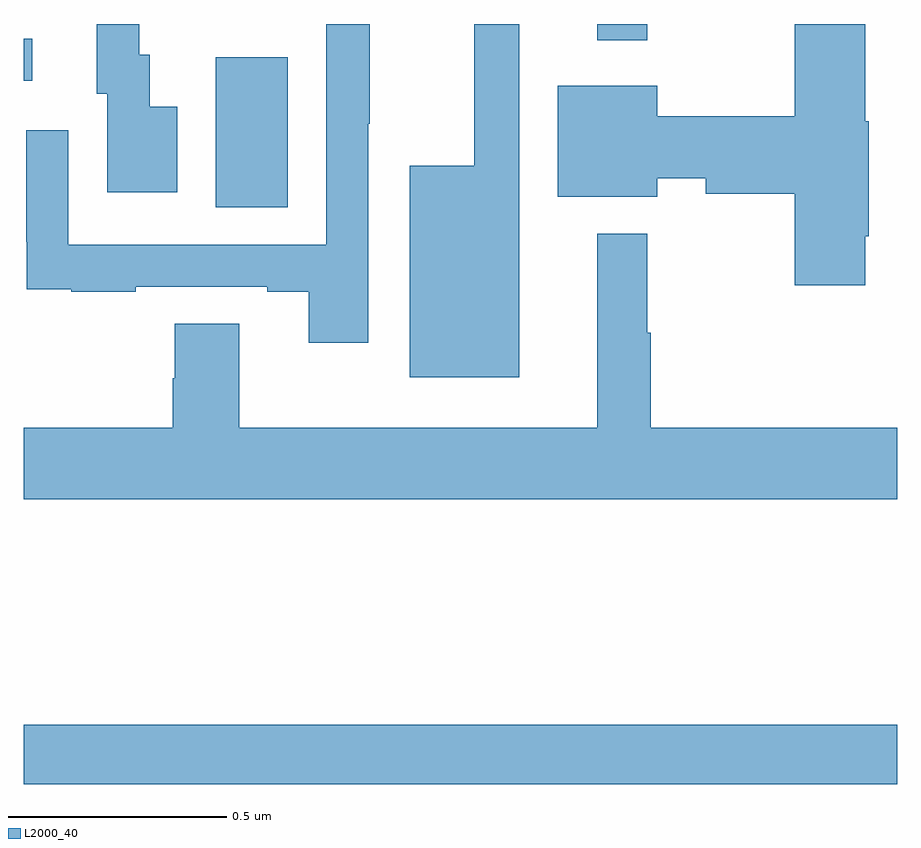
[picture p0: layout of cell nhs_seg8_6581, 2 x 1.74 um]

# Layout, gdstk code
import gdstk
lib = gdstk.Library(unit=1e-6, precision=1e-09)
def R(c, l, rs):  # rectangles x0, y0, x1, y1
    for r in rs: c.add(gdstk.rectangle(r[:2], r[2:], *l))
def P(c, l, *ps):  # polygons
    for p in ps: c.add(gdstk.Polygon(p, *l))
L2000_40 = (2000, 40)

nhs_seg8_6581 = lib.new_cell('nhs_seg8_6581')
R(nhs_seg8_6581, L2000_40, [(198,1137.16,200,1137.296), (198.44,1138.48,198.604,1138.824), (198,1138.77,198.019,1138.866), (199.313,1138.863,199.427,1138.9)])
P(nhs_seg8_6581, L2000_40, [(199.927,1138.414),(199.935,1138.414),(199.935,1138.677),(199.927,1138.677),(199.927,1138.9),(199.765,1138.9),(199.765,1138.689),(199.45,1138.689),(199.45,1138.759),(199.223,1138.759),(199.223,1138.505),(199.45,1138.505),(199.45,1138.547),(199.562,1138.547),(199.562,1138.511),(199.765,1138.511),(199.765,1138.302),(199.927,1138.302)],
  [(199.135,1138.9),(199.031,1138.9),(199.031,1138.576),(198.884,1138.576),(198.884,1138.091),(199.135,1138.091)],
  [(198.352,1138.711),(198.289,1138.711),(198.289,1138.83),(198.264,1138.83),(198.264,1138.9),(198.167,1138.9),(198.167,1138.74),(198.191,1138.74),(198.191,1138.515),(198.352,1138.515)],
  [(198.789,1138.672),(198.792,1138.672),(198.792,1138.9),(198.693,1138.9),(198.693,1138.395),(198.102,1138.395),(198.102,1138.657),(198.006,1138.657),(198.006,1138.402),(198.007,1138.402),(198.007,1138.293),(198.109,1138.293),(198.109,1138.287),(198.257,1138.287),(198.257,1138.299),(198.557,1138.299),(198.557,1138.287),(198.653,1138.287),(198.653,1138.17),(198.789,1138.17)],
  [(200,1137.976),(199.435,1137.976),(199.435,1138.193),(199.427,1138.193),(199.427,1138.42),(199.313,1138.42),(199.313,1137.976),(198.493,1137.976),(198.493,1138.214),(198.346,1138.214),(198.346,1138.089),(198.341,1138.089),(198.341,1137.976),(198,1137.976),(198,1137.812),(200,1137.812)])

lib.write_gds('nhs_seg8_6581.gds')
